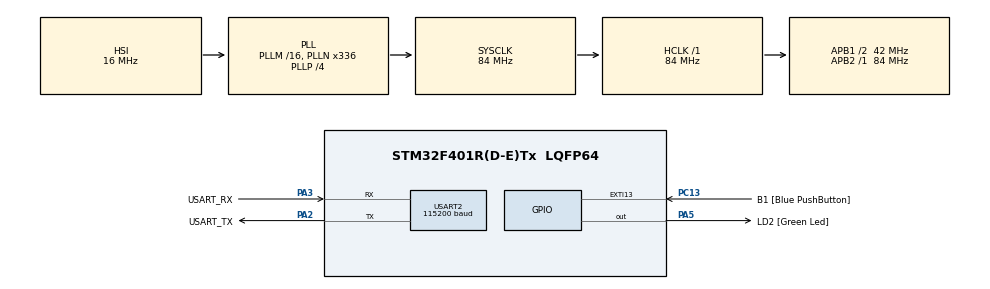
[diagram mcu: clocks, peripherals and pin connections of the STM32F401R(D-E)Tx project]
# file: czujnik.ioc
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Mcu.Family=STM32F4
Mcu.Name=STM32F401R(D-E)Tx
Mcu.Package=LQFP64
NVIC.EXTI15_10_IRQn=true\:0\:0\:false\:false\:true\:true
NVIC.PriorityGroup=NVIC_PRIORITYGROUP_0
NVIC.USART2_IRQn=true\:0\:0\:false\:false\:true\:true
PA13.GPIO_Label=TMS
PA13.Mode=Serial_Wire
PA13.Signal=SYS_JTMS-SWDIO
PA14.GPIO_Label=TCK
PA14.Mode=Serial_Wire
PA14.Signal=SYS_JTCK-SWCLK
PA2.GPIO_Label=USART_TX
PA2.GPIO_Mode=GPIO_MODE_AF_PP
PA2.GPIO_PuPd=GPIO_NOPULL
PA2.GPIO_Speed=GPIO_SPEED_FREQ_LOW
PA2.Mode=Asynchronous
PA2.Signal=USART2_TX
PA3.GPIO_Label=USART_RX
PA3.GPIO_Mode=GPIO_MODE_AF_PP
PA3.GPIO_PuPd=GPIO_NOPULL
PA3.GPIO_Speed=GPIO_SPEED_FREQ_LOW
PA3.Mode=Asynchronous
PA3.Signal=USART2_RX
PA5.GPIO_Label=LD2 [Green Led]
PA5.GPIO_Mode=GPIO_MODE_OUTPUT_PP
PA5.GPIO_PuPd=GPIO_NOPULL
PA5.GPIO_Speed=GPIO_SPEED_FREQ_LOW
PA5.Signal=GPIO_Output
PB3.GPIO_Label=SWO
PB3.Signal=SYS_JTDO-SWO
PC13-ANTI_TAMP.GPIO_Label=B1 [Blue PushButton]
PC13-ANTI_TAMP.GPIO_ModeDefaultEXTI=GPIO_MODE_IT_FALLING
PC13-ANTI_TAMP.GPIO_PuPd=GPIO_NOPULL
PC13-ANTI_TAMP.Signal=GPXTI13
PC14-OSC32_IN.Signal=RCC_OSC32_IN
PC15-OSC32_OUT.Signal=RCC_OSC32_OUT
PH0\ -\ OSC_IN.Signal=RCC_OSC_IN
PH1\ -\ OSC_OUT.Signal=RCC_OSC_OUT
ProjectManager.HeapSize=0x200
ProjectManager.StackSize=0x400
ProjectManager.TargetToolchain=SW4STM32
RCC.48MHZClocksFreq_Value=48000000
RCC.AHBFreq_Value=84000000
RCC.APB1CLKDivider=RCC_HCLK_DIV2
RCC.APB1Freq_Value=42000000
RCC.APB1TimFreq_Value=84000000
RCC.APB2Freq_Value=84000000
RCC.APB2TimFreq_Value=84000000
RCC.CortexFreq_Value=84000000
RCC.HCLKFreq_Value=84000000
RCC.HSE_VALUE=8000000
RCC.HSI_VALUE=16000000
RCC.PLLN=336
RCC.PLLP=RCC_PLLP_DIV4
RCC.PLLQ=7
RCC.SYSCLKFreq_VALUE=84000000
RCC.SYSCLKSource=RCC_SYSCLKSOURCE_PLLCLK
RCC.VCOOutputFreq_Value=336000000
USART2.BaudRate=115200
USART2.VirtualMode=VM_ASYNC
board=NUCLEO-F401RE

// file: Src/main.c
/**
 ******************************************************************************
 * @file           : main.c
 * @brief          : Main program body
 ******************************************************************************
 ** This notice applies to any and all portions of this file
 * that are not between comment pairs USER CODE BEGIN and
 * USER CODE END. Other portions of this file, whether
 * inserted by the user or by software development tools
 * are owned by their respective copyright owners.
 *
 * COPYRIGHT(c) 2018 STMicroelectronics
 *
 * Redistribution and use in source and binary forms, with or without modification,
 * are permitted provided that the following conditions are met:
 *   1. Redistributions of source code must retain the above copyright notice,
 *      this list of conditions and the following disclaimer.
 *   2. Redistributions in binary form must reproduce the above copyright notice,
 *      this list of conditions and the following disclaimer in the documentation
 *      and/or other materials provided with the distribution.
 *   3. Neither the name of STMicroelectronics nor the names of its contributors
 *      may be used to endorse or promote products derived from this software
 *      without specific prior written permission.
 *
 * THIS SOFTWARE IS PROVIDED BY THE COPYRIGHT HOLDERS AND CONTRIBUTORS "AS IS"
 * AND ANY EXPRESS OR IMPLIED WARRANTIES, INCLUDING, BUT NOT LIMITED TO, THE
 * IMPLIED WARRANTIES OF MERCHANTABILITY AND FITNESS FOR A PARTICULAR PURPOSE ARE
 * DISCLAIMED. IN NO EVENT SHALL THE COPYRIGHT HOLDER OR CONTRIBUTORS BE LIABLE
 * FOR ANY DIRECT, INDIRECT, INCIDENTAL, SPECIAL, EXEMPLARY, OR CONSEQUENTIAL
 * DAMAGES (INCLUDING, BUT NOT LIMITED TO, PROCUREMENT OF SUBSTITUTE GOODS OR
 * SERVICES; LOSS OF USE, DATA, OR PROFITS; OR BUSINESS INTERRUPTION) HOWEVER
 * CAUSED AND ON ANY THEORY OF LIABILITY, WHETHER IN CONTRACT, STRICT LIABILITY,
 * OR TORT (INCLUDING NEGLIGENCE OR OTHERWISE) ARISING IN ANY WAY OUT OF THE USE
 * OF THIS SOFTWARE, EVEN IF ADVISED OF THE POSSIBILITY OF SUCH DAMAGE.
 *
 ******************************************************************************
 */
#include "main.h"
#include "stm32f4xx_hal.h"

/* USER CODE BEGIN Includes */
#include "stdarg.h"
#include "string.h"
#include "tm_stm32_ds18b20.h"
#include "tm_stm32_onewire.h"
#include "tm_stm32_delay.h"
volatile uint8_t BUFF_SIZE = 255;

volatile char Buff_Rx[255];
volatile char Buff_Tx[255];

volatile uint8_t Busy_Tx = 0;
volatile uint8_t Empty_Tx = 0;
volatile uint8_t Busy_Rx = 0;
volatile uint8_t Empty_Rx = 0;

char Bx[255];

/* USER CODE END Includes */

UART_HandleTypeDef huart2;

/* USER CODE BEGIN PV */
/* Private variables ---------------------------------------------------------*/
uint16_t licznik = 1000;
uint16_t okres;
uint16_t temp_zadana;
uint16_t petla_histerezy;
uint16_t czy__ma_byc_wlaczony_nadmuch;

TM_OneWire_t OW;
uint8_t DS_ROM[8];
float temp;

/* USER CODE END PV */

void SystemClock_Config(void);
static void MX_GPIO_Init(void);
static void MX_USART2_UART_Init(void);

/* USER CODE BEGIN PFP */
/* Private function prototypes -----------------------------------------------*/

/* USER CODE END PFP */

/* USER CODE BEGIN 0 */

void HAL_SYSTICK_Callback() {
	licznik++;
	if (licznik > okres) {
		licznik = 0;
		sterowanie();
	}
}
float odczyt_temp() {
	if (TM_DS18B20_Is(DS_ROM)) {
		if (TM_DS18B20_AllDone(&OW)) {

			if (TM_DS18B20_Read(&OW, DS_ROM, &temp)) {
				TM_DS18B20_StartAll(&OW);
				return temp;
			} else {
				/* blad odczytu */
				USART_fsend("B£¥D ODCZYTU TEMPERATURY");
			}
		}

	}
//	return temp;

}
void wlacz_dmuchawe(uint8_t czyWlaczona) {
	HAL_GPIO_WritePin(GPIOA, GPIO_PIN_5, czyWlaczona);
}

void sterowanie() {
	if (czy__ma_byc_wlaczony_nadmuch == 2) {
		if (odczyt_temp() > (temp_zadana + petla_histerezy)) {
			wlacz_dmuchawe(0);
		} else if (odczyt_temp() < (temp_zadana - petla_histerezy)) {
			wlacz_dmuchawe(1);
		}
	} else if (czy__ma_byc_wlaczony_nadmuch == 1) {
		wlacz_dmuchawe(1);
	} else {
		wlacz_dmuchawe(0);
	}
}

void odbior_komunikatu(char* komunikat) {
	if (strcmp("AT+TEMA?", komunikat) == 0) {
		char buf[25];
		gcvt(odczyt_temp(), 3, buf);
		USART_fsend("%s\r", buf);
		return;
	}
	if (sscanf(komunikat, "AT+TEMZ=%u", &temp_zadana) > 0) {
		if (czy__ma_byc_wlaczony_nadmuch != 2) {
				USART_fsend("ERR - AUTOMAT WY£¥CZONY\r");
			} else {
				USART_fsend("OK\r");
			}
		return;
	}

	if (sscanf(komunikat, "AT+PEHI=%u", &petla_histerezy) > 0) {
		if (czy__ma_byc_wlaczony_nadmuch != 2) {
			USART_fsend("ERR - AUTOMAT WY£¥CZONY\r");
		} else {
			USART_fsend("OK\r");
		}
		return;
	}

	if (strcmp("AT+NAON", komunikat) == 0) {
		czy__ma_byc_wlaczony_nadmuch = 1;
		USART_fsend("OK - NADMUCH W£¥CZONY MANUALNIE\r");
		return;
	}
	if (strcmp("AT+NOFF", komunikat) == 0) {
		czy__ma_byc_wlaczony_nadmuch = 0;
		USART_fsend("OK - NADMUCH WY£¥CZONY MANUALNIE\r");
		return;
	}
	if (strcmp("AT+AUON", komunikat) == 0) {
		czy__ma_byc_wlaczony_nadmuch = 2;
		USART_fsend("OK - AUTOMAT W£¥CZONY\r");
		return;
	}

	USART_fsend("ERR\r");
}

void USART_fsend(char* format, ...) {

	char tmp_rs[128];
	int i;
	__IO int idx;
	va_list valist;
	va_start(valist, format);
	vsprintf(tmp_rs, format, valist);
	va_end(valist);
	idx = Empty_Tx;
	for (i = 0; i < strlen(tmp_rs); i++) {
		Buff_Tx[idx] = tmp_rs[i];
		idx++;
		if (idx >= BUFF_SIZE)
			idx = 0;
	}
	__disable_irq();

	if ((Empty_Tx == Busy_Tx)
			&& (__HAL_UART_GET_FLAG(&huart2,UART_FLAG_TXE) == SET)) {

		Empty_Tx = idx;
		uint8_t tmp = Buff_Tx[Busy_Tx];
		Busy_Tx++;
		if (Busy_Tx >= BUFF_SIZE)
			Busy_Tx = 0;
		HAL_UART_Transmit_IT(&huart2, &tmp, 1);

	} else {
		Empty_Tx = idx;
	}
	__enable_irq();
}

void HAL_UART_RxCpltCallback(UART_HandleTypeDef *huart) {
	if (huart == &huart2) {
		Empty_Rx++;
		if (Empty_Rx >= BUFF_SIZE)
			Empty_Rx = 0;
		HAL_UART_Receive_IT(&huart2, &Buff_Rx[Empty_Rx], 1);
	}
}

void HAL_UART_TxCpltCallback(UART_HandleTypeDef *huart) {
	if (huart == &huart2) {
		if (Empty_Tx != Busy_Tx) {
			uint8_t tmp = Buff_Tx[Busy_Tx];
			Busy_Tx++;
			if (Busy_Tx >= BUFF_SIZE)
				Busy_Tx = 0;
			HAL_UART_Transmit_IT(&huart2, &tmp, 1);
		}

	}
}

uint8_t czypustyRx() {
	if (Empty_Rx == Busy_Rx) {
		return 0;
	} else {
		return 1;
	}
}

uint8_t USART_getchar() {

	uint8_t tmp;

	if (Empty_Rx != Busy_Rx) {

		tmp = Buff_Rx[Busy_Rx];
		Busy_Rx++;
		if (Busy_Rx >= BUFF_SIZE)
			Busy_Rx = 0;
		return tmp;
	} else
		return 0;
}

uint8_t USART_getline(char * buff) {

	static uint8_t ramka[128];
	static uint8_t idx = 0;
	static uint8_t czy_ramka = 0;
	static uint8_t czy_ostatnio_a = 0;

	int i;
	uint8_t ret;

	while (czypustyRx()) {
		uint8_t z = USART_getchar();

		if (czy_ramka == 1) {

			ramka[idx] = z;

			if (ramka[idx] == 13) { //13 -> ENTER
				ramka[idx] = 0;
				buff[0] = 65; //A
				buff[1] = 84; //T
				for (i = 0; i <= idx; i++) {
					buff[i + 2] = ramka[i];
				}

				ret = idx;
				idx = 0;
				czy_ramka = 0;
				czy_ostatnio_a = 0;
				return ret;

			} else {
				idx++;
				if (idx >= 128)
					idx = 0;

			}
		}

		if (czy_ostatnio_a == 1 && z == 84) { //84->T
			if (czy_ramka == 1) {
				idx = 0;
			} else {
				czy_ramka = 1;
			}
		}
		if (z == 65) { //65->A
			czy_ostatnio_a = 1;
		} else {
			czy_ostatnio_a = 0;
		}

	}
	return 0;
}

/* USER CODE END 0 */

int main(void) {
	/* USER CODE BEGIN 1 */
	//TM_RCC_InitSystem();
	/* USER CODE END 1 */

	/* MCU Configuration----------------------------------------------------------*/

	/* Reset of all peripherals, Initializes the Flash interface and the Systick. */
	HAL_Init();

	/* Configure the system clock */
	SystemClock_Config();

	/* Initialize all configured peripherals */
	MX_GPIO_Init();
	MX_USART2_UART_Init();
	/* USER CODE BEGIN 2 */

	TM_OneWire_Init(&OW, GPIOA, GPIO_PIN_15);

	if (TM_OneWire_First(&OW)) {
		TM_OneWire_GetFullROM(&OW, DS_ROM);
	} else {
	}

	HAL_UART_Receive_IT(&huart2, &Buff_Rx[0], 1);

	if (TM_DS18B20_Is(DS_ROM)) {
		TM_DS18B20_SetResolution(&OW, DS_ROM, TM_DS18B20_Resolution_12bits);
		TM_DS18B20_StartAll(&OW);
	}

	int len = 0;
	okres = 1000;
	temp_zadana = 24;
	petla_histerezy = 1;
	czy__ma_byc_wlaczony_nadmuch = 2;

	/* USER CODE END 2 */

	/* Infinite loop */
	/* USER CODE BEGIN WHILE */
	while (1) {

		if ((len = USART_getline(Bx)) > 0) {
			odbior_komunikatu(Bx);
		}
	}
	/* USER CODE END WHILE */

}

void SystemClock_Config(void) {

	RCC_OscInitTypeDef RCC_OscInitStruct;
	RCC_ClkInitTypeDef RCC_ClkInitStruct;

	/**Configure the main internal regulator output voltage
	 */
	__HAL_RCC_PWR_CLK_ENABLE()
	;

	__HAL_PWR_VOLTAGESCALING_CONFIG(PWR_REGULATOR_VOLTAGE_SCALE2);

	/**Initializes the CPU, AHB and APB busses clocks
	 */
	RCC_OscInitStruct.OscillatorType = RCC_OSCILLATORTYPE_HSI;
	RCC_OscInitStruct.HSIState = RCC_HSI_ON;
	RCC_OscInitStruct.HSICalibrationValue = 16;
	RCC_OscInitStruct.PLL.PLLState = RCC_PLL_ON;
	RCC_OscInitStruct.PLL.PLLSource = RCC_PLLSOURCE_HSI;
	RCC_OscInitStruct.PLL.PLLM = 16;
	RCC_OscInitStruct.PLL.PLLN = 336;
	RCC_OscInitStruct.PLL.PLLP = RCC_PLLP_DIV4;
	RCC_OscInitStruct.PLL.PLLQ = 7;
	if (HAL_RCC_OscConfig(&RCC_OscInitStruct) != HAL_OK) {
		_Error_Handler(__FILE__, __LINE__);
	}

	/**Initializes the CPU, AHB and APB busses clocks
	 */
	RCC_ClkInitStruct.ClockType = RCC_CLOCKTYPE_HCLK | RCC_CLOCKTYPE_SYSCLK
			| RCC_CLOCKTYPE_PCLK1 | RCC_CLOCKTYPE_PCLK2;
	RCC_ClkInitStruct.SYSCLKSource = RCC_SYSCLKSOURCE_PLLCLK;
	RCC_ClkInitStruct.AHBCLKDivider = RCC_SYSCLK_DIV1;
	RCC_ClkInitStruct.APB1CLKDivider = RCC_HCLK_DIV2;
	RCC_ClkInitStruct.APB2CLKDivider = RCC_HCLK_DIV1;

	if (HAL_RCC_ClockConfig(&RCC_ClkInitStruct, FLASH_LATENCY_2) != HAL_OK) {
		_Error_Handler(__FILE__, __LINE__);
	}

	/**Configure the Systick interrupt time
	 */
	HAL_SYSTICK_Config(HAL_RCC_GetHCLKFreq() / 1000);

	/**Configure the Systick
	 */
	HAL_SYSTICK_CLKSourceConfig(SYSTICK_CLKSOURCE_HCLK);

	/* SysTick_IRQn interrupt configuration */
	HAL_NVIC_SetPriority(SysTick_IRQn, 0, 0);
}

/* USART2 init function */
static void MX_USART2_UART_Init(void) {

	huart2.Instance = USART2;
	huart2.Init.BaudRate = 115200;
	huart2.Init.WordLength = UART_WORDLENGTH_8B;
	huart2.Init.StopBits = UART_STOPBITS_1;
	huart2.Init.Parity = UART_PARITY_NONE;
	huart2.Init.Mode = UART_MODE_TX_RX;
	huart2.Init.HwFlowCtl = UART_HWCONTROL_NONE;
	huart2.Init.OverSampling = UART_OVERSAMPLING_16;
	if (HAL_UART_Init(&huart2) != HAL_OK) {
		_Error_Handler(__FILE__, __LINE__);
	}

}

/** Configure pins as
 * Analog
 * Input
 * Output
 * EVENT_OUT
 * EXTI
 */
static void MX_GPIO_Init(void) {

	GPIO_InitTypeDef GPIO_InitStruct;

	/* GPIO Ports Clock Enable */
	__HAL_RCC_GPIOC_CLK_ENABLE()
	;
	__HAL_RCC_GPIOH_CLK_ENABLE()
	;
	__HAL_RCC_GPIOA_CLK_ENABLE()
	;
	__HAL_RCC_GPIOB_CLK_ENABLE()
	;

	/*Configure GPIO pin Output Level */
	HAL_GPIO_WritePin(LD2_GPIO_Port, LD2_Pin, GPIO_PIN_RESET);

	/*Configure GPIO pin : B1_Pin */
	GPIO_InitStruct.Pin = B1_Pin;
	GPIO_InitStruct.Mode = GPIO_MODE_IT_FALLING;
	GPIO_InitStruct.Pull = GPIO_NOPULL;
	HAL_GPIO_Init(B1_GPIO_Port, &GPIO_InitStruct);

	/*Configure GPIO pin : LD2_Pin */
	GPIO_InitStruct.Pin = LD2_Pin;
	GPIO_InitStruct.Mode = GPIO_MODE_OUTPUT_PP;
	GPIO_InitStruct.Pull = GPIO_NOPULL;
	GPIO_InitStruct.Speed = GPIO_SPEED_FREQ_LOW;
	HAL_GPIO_Init(LD2_GPIO_Port, &GPIO_InitStruct);

	/* EXTI interrupt init*/
	HAL_NVIC_SetPriority(EXTI15_10_IRQn, 0, 0);
	HAL_NVIC_EnableIRQ(EXTI15_10_IRQn);

}

void _Error_Handler(char *file, int line) {
	while (1) {
	}
}

/************************ (C) COPYRIGHT STMicroelectronics *****END OF FILE****/
